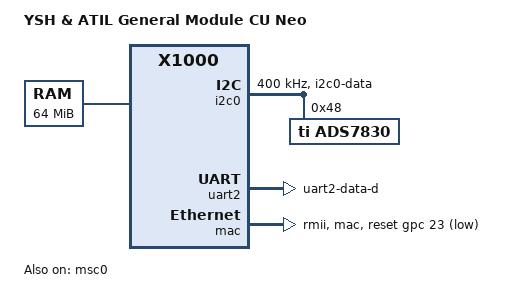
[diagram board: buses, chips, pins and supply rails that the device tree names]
// SPDX-License-Identifier: GPL-2.0
/dts-v1/;

#include "x1000.dtsi"
#include <dt-bindings/gpio/gpio.h>
#include <dt-bindings/clock/ingenic,tcu.h>

/ {
	compatible = "yna,cu1000", "ingenic,x1000";
	model = "YSH & ATIL General Module CU Neo";

	aliases {
		serial2 = &uart2;
	};

	chosen {
		stdout-path = &uart2;
	};

	memory {
		device_type = "memory";
		reg = <0x0 0x04000000>;
	};
};

&exclk {
	clock-frequency = <24000000>;
};

&tcu {
	/* 1500 kHz for the system timer and clocksource */
	assigned-clocks = <&tcu TCU_CLK_TIMER0>, <&tcu TCU_CLK_TIMER2>;
	assigned-clock-rates = <1500000>, <1500000>;

	/* Use channel #1 for the system timer channel #2 for the clocksource */
	ingenic,pwm-channels-mask = <0xfa>;
};

&i2c0 {
	status = "okay";

	clock-frequency = <400000>;

	pinctrl-names = "default";
	pinctrl-0 = <&pins_i2c0>;

	ads7830@48 {
		compatible = "ti,ads7830";
		reg = <0x48>;
	};
};

&uart2 {
	status = "okay";

	pinctrl-names = "default";
	pinctrl-0 = <&pins_uart2>;
};

&mac {
	status = "okay";

	phy-mode = "rmii";

	pinctrl-names = "default";
	pinctrl-0 = <&pins_mac>;

	snps,reset-gpio = <&gpc 23 GPIO_ACTIVE_HIGH>; /* PC23 */
	snps,reset-active-low;
	snps,reset-delays-us = <0 10000 30000>;
};

&msc0 {
	status = "okay";

	bus-width = <8>;
	max-frequency = <50000000>;

	pinctrl-names = "default";
	pinctrl-0 = <&pins_msc0>;
};

&pinctrl {
	pins_i2c0: i2c0 {
		function = "i2c0";
		groups = "i2c0-data";
		bias-disable;
	};

	pins_uart2: uart2 {
		function = "uart2";
		groups = "uart2-data-d";
		bias-disable;
	};

	pins_mac: mac {
		function = "mac";
		groups = "mac";
		bias-disable;
	};

	pins_msc0: msc0 {
		function = "mmc0";
		groups = "mmc0-1bit", "mmc0-4bit", "mmc0-8bit";
		bias-disable;
	};
};
